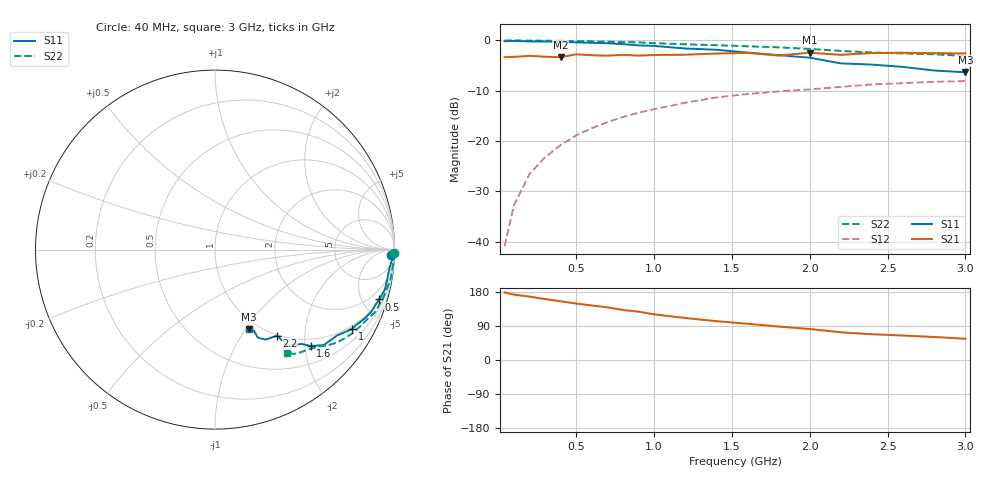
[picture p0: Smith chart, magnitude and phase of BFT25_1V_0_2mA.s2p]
! Filename:  BFT25B.S2P  Version:  2.0
! Philips part #: BFT25  Date: Jul 1990
! Bias condition: Vce=1V, Ic=0.2mA
#  MHz  S  MA  R  50
! Freq  S11  S21  S12  S22  !GUM [dB]
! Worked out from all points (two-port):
!   21 points, 40 MHz to 3 GHz, reference 50 ohm
!   highest |S21| = -2.44 dB at 2 GHz (marker M1); lowest = -3.3 dB at 400 MHz (marker M2)
!   |S21| within 3 dB of the highest: start of sweep to end of sweep
!   lowest |S11| = -6.3 dB at 3 GHz (marker M3), VSWR 2.86, Z = 44.7 - j51.7 ohm
!   |S11| at or under -10 dB: nowhere
!   |S22| runs from -3.1 to 0.0 dB; largest |S21 - S12| = 0.7
!   S11 on the Smith chart (normalised r, x): 40 MHz: 33, -49; 500 MHz: 1.02, -6.58; 1 GHz: 0.88, -3.51; 1.6 GHz: 0.84, -2.12; 2.2 GHz: 0.99, -1.46; 3 GHz: 0.89, -1.03
40  0.981 -1.6  0.681 178.2  0.009 89.1  0.997 -1.1
100  0.989 -3.0  0.686 172.6  0.023 86.2  0.999 -2.5
200  0.976 -6.6  0.702 167.3  0.047 84.5  0.995 -5.2
300  0.974 -9.9  0.688 160.7  0.069 81.8  0.993 -7.8
400  0.972 -13.3  0.681 155.0  0.091 79.6  0.991 -10.4
500  0.956 -16.9  0.727 148.9  0.114 77.5  0.983 -12.4
600  0.946 -18.9  0.712 143.9  0.134 75.8  0.978 -14.9
700  0.938 -21.6  0.705 138.9  0.154 73.6  0.969 -17.3
800  0.918 -24.7  0.719 132.0  0.173 71.5  0.963 -19.7
900  0.893 -28.0  0.706 127.5  0.191 69.3  0.956 -21.6
1000  0.882 -30.1  0.716 120.6  0.207 67.2  0.939 -23.6
1200  0.831 -35.2  0.721 110.8  0.24 62.8  0.916 -27.7
1400  0.807 -41.2  0.741 102.5  0.271 59.2  0.896 -31.4
1600  0.757 -45.2  0.752 95.6  0.293 55.6  0.874 -34.6
1800  0.714 -47.4  0.707 88.3  0.311 53.0  0.853 -37.4
2000  0.673 -52.8  0.755 81.8  0.326 49.7  0.823 -40.5
2200  0.591 -54.3  0.719 73.1  0.345 46.8  0.786 -43.5
2400  0.575 -60.7  0.749 68.0  0.365 43.2  0.76 -47.3
2600  0.545 -64.1  0.754 64.5  0.376 41.4  0.742 -50.8
2800  0.502 -64.3  0.746 60.7  0.388 40.2  0.728 -53.0
3000  0.482 -67.2  0.743 56.1  0.394 38.0  0.7 -55.0
